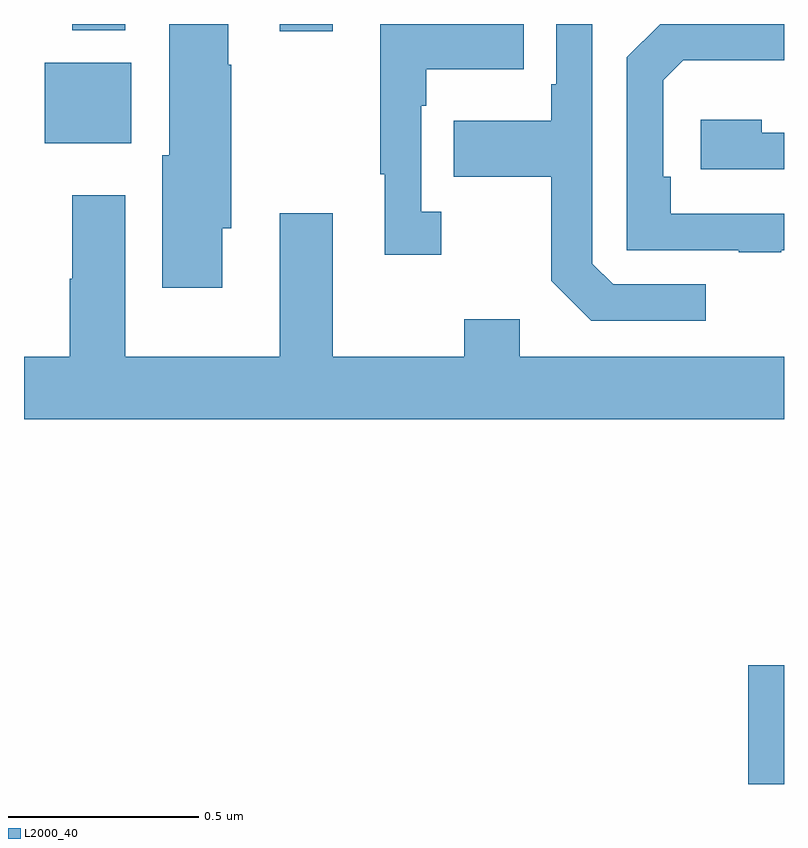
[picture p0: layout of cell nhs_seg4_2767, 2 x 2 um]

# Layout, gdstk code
import gdstk
lib = gdstk.Library(unit=1e-6, precision=1e-09)
def R(c, l, rs):  # rectangles x0, y0, x1, y1
    for r in rs: c.add(gdstk.rectangle(r[:2], r[2:], *l))
def P(c, l, *ps):  # polygons
    for p in ps: c.add(gdstk.Polygon(p, *l))
L2000_40 = (2000, 40)

nhs_seg4_2767 = lib.new_cell('nhs_seg4_2767')
R(nhs_seg4_2767, L2000_40, [(146.906,755.9,147,756.213), (145.055,757.586,145.282,757.798), (145.673,757.881,145.813,757.9), (145.127,757.883,145.267,757.9)])
P(nhs_seg4_2767, L2000_40, [(146.794,757.215),(146.55,757.215),(146.496,757.269),(146.496,757.9),(146.4,757.9),(146.4,757.741),(146.388,757.741),(146.388,757.645),(146.131,757.645),(146.131,757.498),(146.388,757.498),(146.388,757.225),(146.493,757.119),(146.794,757.119)],
  [(146.098,757.406),(146.046,757.406),(146.046,757.685),(146.059,757.685),(146.059,757.781),(146.315,757.781),(146.315,757.9),(145.938,757.9),(145.938,757.505),(145.949,757.505),(145.949,757.293),(146.098,757.293)],
  [(145.522,757.362),(145.545,757.362),(145.545,757.793),(145.537,757.793),(145.537,757.9),(145.382,757.9),(145.382,757.554),(145.364,757.554),(145.364,757.206),(145.522,757.206)],
  [(146.993,757.305),(147,757.305),(147,757.401),(146.702,757.401),(146.702,757.498),(146.682,757.498),(146.682,757.752),(146.735,757.805),(147,757.805),(147,757.9),(146.674,757.9),(146.586,757.812),(146.586,757.305),(146.881,757.305),(146.881,757.3),(146.993,757.3)],
  [(147,757.614),(146.942,757.614),(146.942,757.648),(146.781,757.648),(146.781,757.518),(147,757.518)],
  [(147,757.024),(146.305,757.024),(146.305,757.123),(146.158,757.123),(146.158,757.024),(145.813,757.024),(145.813,757.402),(145.673,757.402),(145.673,757.024),(145.267,757.024),(145.267,757.45),(145.127,757.45),(145.127,757.229),(145.12,757.229),(145.12,757.024),(145,757.024),(145,756.86),(147,756.86)])

lib.write_gds('nhs_seg4_2767.gds')
